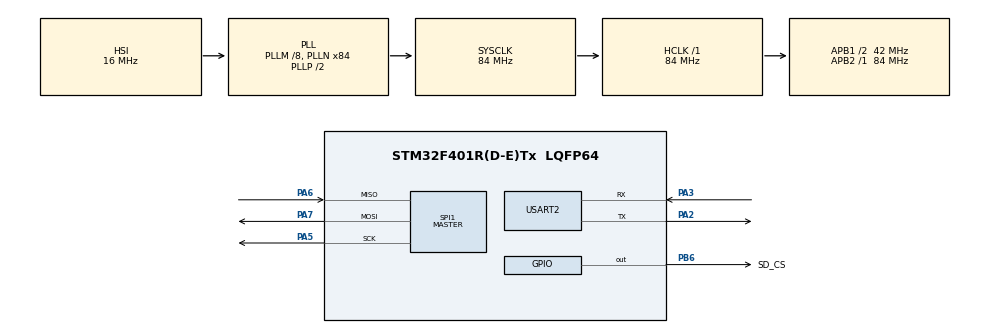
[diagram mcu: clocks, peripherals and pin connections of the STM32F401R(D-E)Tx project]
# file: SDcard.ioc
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FATFS._MAX_SS=4096
FATFS._USE_LFN=1
Mcu.Family=STM32F4
Mcu.Name=STM32F401R(D-E)Tx
Mcu.Package=LQFP64
NVIC.PriorityGroup=NVIC_PRIORITYGROUP_0
PA13.Mode=Serial_Wire
PA13.Signal=SYS_JTMS-SWDIO
PA14.Mode=Serial_Wire
PA14.Signal=SYS_JTCK-SWCLK
PA2.Mode=Asynchronous
PA2.Signal=USART2_TX
PA3.Mode=Asynchronous
PA3.Signal=USART2_RX
PA5.Mode=Full_Duplex_Master
PA5.Signal=SPI1_SCK
PA6.Mode=Full_Duplex_Master
PA6.Signal=SPI1_MISO
PA7.Mode=Full_Duplex_Master
PA7.Signal=SPI1_MOSI
PB6.GPIO_Label=SD_CS
PB6.GPIO_Speed=GPIO_SPEED_FREQ_MEDIUM
PB6.PinState=GPIO_PIN_SET
PB6.Signal=GPIO_Output
ProjectManager.HeapSize=0x200
ProjectManager.StackSize=0x400
ProjectManager.TargetToolchain=STM32CubeIDE
RCC.48MHZClocksFreq_Value=24000000
RCC.AHBFreq_Value=84000000
RCC.APB1CLKDivider=RCC_HCLK_DIV2
RCC.APB1Freq_Value=42000000
RCC.APB1TimFreq_Value=84000000
RCC.APB2Freq_Value=84000000
RCC.APB2TimFreq_Value=84000000
RCC.CortexFreq_Value=84000000
RCC.HCLKFreq_Value=84000000
RCC.HSE_VALUE=8000000
RCC.HSI_VALUE=16000000
RCC.LSE_VALUE=32768
RCC.PLLM=8
RCC.PLLN=84
RCC.PLLQ=7
RCC.SYSCLKFreq_VALUE=84000000
RCC.SYSCLKSource=RCC_SYSCLKSOURCE_PLLCLK
RCC.VCOOutputFreq_Value=168000000
SPI1.BaudRatePrescaler=SPI_BAUDRATEPRESCALER_16
SPI1.Direction=SPI_DIRECTION_2LINES
SPI1.Mode=SPI_MODE_MASTER
SPI1.VirtualType=VM_MASTER
USART2.VirtualMode=VM_ASYNC
VP_FATFS_VS_Generic.Mode=User_defined
board=NUCLEO-F401RE

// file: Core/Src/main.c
/* USER CODE BEGIN Header */
/**
  ******************************************************************************
  * @file           : main.c
  * @brief          : Main program body
  ******************************************************************************
  * @attention
  *
  * Copyright (c) 2023 STMicroelectronics.
  * All rights reserved.
  *
  * This software is licensed under terms that can be found in the LICENSE file
  * in the root directory of this software component.
  * If no LICENSE file comes with this software, it is provided AS-IS.
  *
  ******************************************************************************
  */
/* USER CODE END Header */
#include "main.h"
#include "fatfs.h"

/* USER CODE BEGIN Includes */
#include "fatfs_sd.h"
#include "string.h"
#include <stdio.h>
/* USER CODE END Includes */

/* USER CODE BEGIN PD */
FATFS fs;
FATFS *pfs;
FIL fil;
FRESULT fresult;
DWORD fre_clust;
uint32_t total, free_space;
char buffer[1024];
UINT br,bw;
/* USER CODE END PD */

SPI_HandleTypeDef hspi1;

UART_HandleTypeDef huart2;

void SystemClock_Config(void);
static void MX_GPIO_Init(void);
static void MX_USART2_UART_Init(void);
static void MX_SPI1_Init(void);

/* USER CODE BEGIN 0 */
void send_uart(char *string){
 		uint8_t len = strlen (string);
 		HAL_UART_Transmit(&huart2, (uint8_t*) string, len, 200);
 	}
/* to find the size of the buffer*/

int bufsize (char *buf){
	int i=0;
	while (*buf++ != '\0') i ++;
	return i;
}

void bufclear (void) {// clear buffer
for (int i = 0; i < 1024; i++) {
	buffer[i]='\0';
}
}
/* USER CODE END 0 */

int main(void)
{

  /* MCU Configuration--------------------------------------------------------*/

  /* Reset of all peripherals, Initializes the Flash interface and the Systick. */
  HAL_Init();

  /* Configure the system clock */
  SystemClock_Config();

  /* Initialize all configured peripherals */
  MX_GPIO_Init();
  MX_USART2_UART_Init();
  MX_FATFS_Init();
  MX_SPI1_Init();
  /* USER CODE BEGIN 2 */

  // Wait for SD module reset
  /* Mount SD Card  */
    	fresult = f_mount(&fs, "", 0);
    	if (fresult != FR_OK) {
    	    send_uart("SD card MOUNT FAILED...\r\n");
    	} else {
    	    send_uart("SD card MOUNTED...\r\n");

    	   /* Check free space */
    	  f_getfree("", &fre_clust, &pfs);
    	    if (fresult != FR_OK) {
    	    	send_uart("SD card MOUNT FAILED...\r\n");
    	} else {

    	    /* Calculate total space only after mounting */
    	    total = (uint32_t)((pfs->n_fatent - 2) * pfs->csize * 0.5);

    	   /* Print total space */
    	    sprintf(buffer, "Total SD card space: %lu \r\n", total);
    	    send_uart(buffer);
    	    bufclear();
    	}
    	  if (fresult != FR_OK) {
    		send_uart("SD card MOUNT FAILED...\r\n");
    	  }else if(fresult == FR_OK){
    	   /* Calculate available space */
    	    free_space = (uint32_t)(fre_clust * pfs->csize * 0.5);

    	   /* Print available space */
    	    sprintf(buffer, "Available Space: %lu \r\n", free_space);
    	    send_uart(buffer);
    	    bufclear();

    	  }
    	 //open a file to write, if it doesn't exist, it creates.
    	  fresult = f_open(&fil, "ADXL1_DATA.txt", FA_OPEN_ALWAYS | FA_READ | FA_WRITE);

    	  //Write the text
    	  fresult = f_puts("ADXL1_DATA HERE!\r\n", &fil);

    	  // close file
    	  fresult = f_close(&fil);
    	  send_uart("ADXL1_DATA.txt created & data is written\r\n");

    	  //open the file to read
    	  fresult = f_open(&fil,"ADXL1_DATA.txt", FA_READ);

  	  // Read the text from the file
    	  f_gets(buffer,sizeof(buffer),&fil);

    	  send_uart(buffer);

    	  //close file
    	  f_close(&fil);
    	  bufclear();
    	}
    	//opening another file
          	fresult = f_open(&fil, "ADXL2_DATA.txt", FA_OPEN_ALWAYS | FA_READ | FA_WRITE);

          	// using f_write to write inside this file
          	strcpy(buffer,"ADXL2_DATA WILL be stored here\r\n");

          	fresult = f_write(&fil, buffer,bufsize(buffer), &bw);

          	send_uart("ADXL2_DATA data will be written here.\r\n");

          	//close file
          	f_close(&fil);

          	//clearing buffer to empty it before reading data
           	bufclear();

          	// open 2nd file to read
          	fresult = f_open(&fil,"ADXL2_DATA.txt", FA_READ);
          	f_read(&fil, buffer, sizeof(buffer), &br);
          	send_uart(buffer);

          	//Close file
          	f_close(&fil);
          	bufclear();

          	// Update a file
          	fresult = f_open(&fil, "ADXL2_DATA.txt", FA_OPEN_ALWAYS | FA_READ | FA_WRITE);
          	// Move offset toward the end of the line using the size of the file
          	fresult = f_lseek(&fil, f_size(&fil));

          	fresult= f_puts("UPDATE 1 to ADXL2_DATA",&fil);

          	//close file
          	f_close(&fil);
          	bufclear();
          	fresult = f_open(&fil,"ADXL2_DATA.txt", FA_READ);

            f_read(&fil, buffer, sizeof(buffer), &br);

          	send_uart(buffer);

          	 //Close file
          	 f_close(&fil);
          	 bufclear();

  /* USER CODE END 2 */

  /* Infinite loop */
  while (1)
  {

  }
}

void SystemClock_Config(void)
{
  RCC_OscInitTypeDef RCC_OscInitStruct = {0};
  RCC_ClkInitTypeDef RCC_ClkInitStruct = {0};

  /** Configure the main internal regulator output voltage
  */
  __HAL_RCC_PWR_CLK_ENABLE();
  __HAL_PWR_VOLTAGESCALING_CONFIG(PWR_REGULATOR_VOLTAGE_SCALE2);

  /** Initializes the RCC Oscillators according to the specified parameters
  * in the RCC_OscInitTypeDef structure.
  */
  RCC_OscInitStruct.OscillatorType = RCC_OSCILLATORTYPE_HSI;
  RCC_OscInitStruct.HSIState = RCC_HSI_ON;
  RCC_OscInitStruct.HSICalibrationValue = RCC_HSICALIBRATION_DEFAULT;
  RCC_OscInitStruct.PLL.PLLState = RCC_PLL_ON;
  RCC_OscInitStruct.PLL.PLLSource = RCC_PLLSOURCE_HSI;
  RCC_OscInitStruct.PLL.PLLM = 8;
  RCC_OscInitStruct.PLL.PLLN = 84;
  RCC_OscInitStruct.PLL.PLLP = RCC_PLLP_DIV2;
  RCC_OscInitStruct.PLL.PLLQ = 7;
  if (HAL_RCC_OscConfig(&RCC_OscInitStruct) != HAL_OK)
  {
    Error_Handler();
  }

  /** Initializes the CPU, AHB and APB buses clocks
  */
  RCC_ClkInitStruct.ClockType = RCC_CLOCKTYPE_HCLK|RCC_CLOCKTYPE_SYSCLK
                              |RCC_CLOCKTYPE_PCLK1|RCC_CLOCKTYPE_PCLK2;
  RCC_ClkInitStruct.SYSCLKSource = RCC_SYSCLKSOURCE_PLLCLK;
  RCC_ClkInitStruct.AHBCLKDivider = RCC_SYSCLK_DIV1;
  RCC_ClkInitStruct.APB1CLKDivider = RCC_HCLK_DIV2;
  RCC_ClkInitStruct.APB2CLKDivider = RCC_HCLK_DIV1;

  if (HAL_RCC_ClockConfig(&RCC_ClkInitStruct, FLASH_LATENCY_2) != HAL_OK)
  {
    Error_Handler();
  }
}

static void MX_SPI1_Init(void)
{

  /* SPI1 parameter configuration*/
  hspi1.Instance = SPI1;
  hspi1.Init.Mode = SPI_MODE_MASTER;
  hspi1.Init.Direction = SPI_DIRECTION_2LINES;
  hspi1.Init.DataSize = SPI_DATASIZE_8BIT;
  hspi1.Init.CLKPolarity = SPI_POLARITY_LOW;
  hspi1.Init.CLKPhase = SPI_PHASE_1EDGE;
  hspi1.Init.NSS = SPI_NSS_SOFT;
  hspi1.Init.BaudRatePrescaler = SPI_BAUDRATEPRESCALER_16;
  hspi1.Init.FirstBit = SPI_FIRSTBIT_MSB;
  hspi1.Init.TIMode = SPI_TIMODE_DISABLE;
  hspi1.Init.CRCCalculation = SPI_CRCCALCULATION_DISABLE;
  hspi1.Init.CRCPolynomial = 10;
  if (HAL_SPI_Init(&hspi1) != HAL_OK)
  {
    Error_Handler();
  }

}

static void MX_USART2_UART_Init(void)
{

  huart2.Instance = USART2;
  huart2.Init.BaudRate = 115200;
  huart2.Init.WordLength = UART_WORDLENGTH_8B;
  huart2.Init.StopBits = UART_STOPBITS_1;
  huart2.Init.Parity = UART_PARITY_NONE;
  huart2.Init.Mode = UART_MODE_TX_RX;
  huart2.Init.HwFlowCtl = UART_HWCONTROL_NONE;
  huart2.Init.OverSampling = UART_OVERSAMPLING_16;
  if (HAL_UART_Init(&huart2) != HAL_OK)
  {
    Error_Handler();
  }

}

static void MX_GPIO_Init(void)
{
  GPIO_InitTypeDef GPIO_InitStruct = {0};

  /* GPIO Ports Clock Enable */
  __HAL_RCC_GPIOA_CLK_ENABLE();
  __HAL_RCC_GPIOB_CLK_ENABLE();

  /*Configure GPIO pin Output Level */
  HAL_GPIO_WritePin(SD_CS_GPIO_Port, SD_CS_Pin, GPIO_PIN_SET);

  /*Configure GPIO pin : SD_CS_Pin */
  GPIO_InitStruct.Pin = SD_CS_Pin;
  GPIO_InitStruct.Mode = GPIO_MODE_OUTPUT_PP;
  GPIO_InitStruct.Pull = GPIO_NOPULL;
  GPIO_InitStruct.Speed = GPIO_SPEED_FREQ_MEDIUM;
  HAL_GPIO_Init(SD_CS_GPIO_Port, &GPIO_InitStruct);

}

void Error_Handler(void)
{
  __disable_irq();
  while (1)
  {
  }
}
